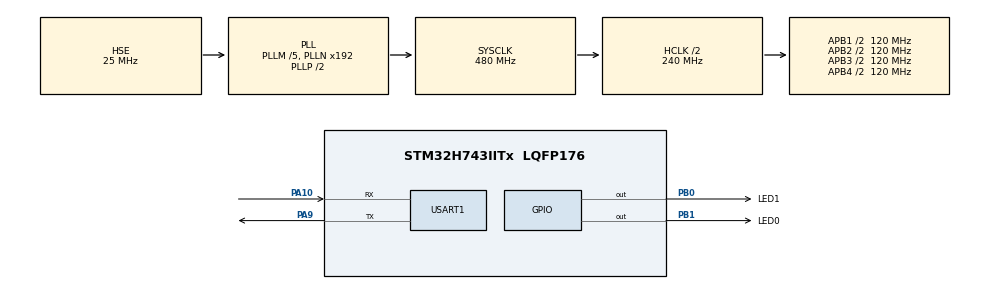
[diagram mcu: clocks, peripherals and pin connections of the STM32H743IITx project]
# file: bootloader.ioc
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Mcu.Family=STM32H7
Mcu.Name=STM32H743IITx
Mcu.Package=LQFP176
NVIC.PriorityGroup=NVIC_PRIORITYGROUP_4
PA10.Mode=Asynchronous
PA10.Signal=USART1_RX
PA13\ (JTMS/SWDIO).Mode=JTAG_5_pins
PA13\ (JTMS/SWDIO).Signal=DEBUG_JTMS-SWDIO
PA14\ (JTCK/SWCLK).Mode=JTAG_5_pins
PA14\ (JTCK/SWCLK).Signal=DEBUG_JTCK-SWCLK
PA15\ (JTDI).Mode=JTAG_5_pins
PA15\ (JTDI).Signal=DEBUG_JTDI
PA9.Mode=Asynchronous
PA9.Signal=USART1_TX
PB0.GPIO_Label=LED1
PB0.GPIO_PuPd=GPIO_PULLUP
PB0.PinState=GPIO_PIN_SET
PB0.Signal=GPIO_Output
PB1.GPIO_Label=LED0
PB1.GPIO_PuPd=GPIO_PULLUP
PB1.PinState=GPIO_PIN_SET
PB1.Signal=GPIO_Output
PB3\ (JTDO/TRACESWO).Mode=JTAG_5_pins
PB3\ (JTDO/TRACESWO).Signal=DEBUG_JTDO-SWO
PB4\ (NJTRST).Mode=JTAG_5_pins
PB4\ (NJTRST).Signal=DEBUG_JTRST
PH0-OSC_IN\ (PH0).Mode=HSE-External-Oscillator
PH0-OSC_IN\ (PH0).Signal=RCC_OSC_IN
PH1-OSC_OUT\ (PH1).Mode=HSE-External-Oscillator
PH1-OSC_OUT\ (PH1).Signal=RCC_OSC_OUT
ProjectManager.HeapSize=0x200
ProjectManager.StackSize=0x400
ProjectManager.TargetToolchain=MDK-ARM V5.32
RCC.ADCFreq_Value=50390625
RCC.APB1Freq_Value=120000000
RCC.APB2Freq_Value=120000000
RCC.APB3Freq_Value=120000000
RCC.APB4Freq_Value=120000000
RCC.CortexFreq_Value=480000000
RCC.D1PPRE=RCC_APB3_DIV2
RCC.D2PPRE1=RCC_APB1_DIV2
RCC.D2PPRE2=RCC_APB2_DIV2
RCC.D3PPRE=RCC_APB4_DIV2
RCC.DIVM1=5
RCC.DIVN1=192
RCC.HCLKFreq_Value=240000000
RCC.HPRE=RCC_HCLK_DIV2
RCC.PLLSourceVirtual=RCC_PLLSOURCE_HSE
RCC.ProductRev=revV
RCC.SYSCLKFreq_VALUE=480000000
RCC.SYSCLKSource=RCC_SYSCLKSOURCE_PLLCLK
RCC.USBFreq_Value=480000000
USART1.VirtualMode-Asynchronous=VM_ASYNC
board=custom

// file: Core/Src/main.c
/* USER CODE BEGIN Header */
/**
  ******************************************************************************
  * @file           : main.c
  * @brief          : Main program body
  ******************************************************************************
  * @attention
  *
  * Copyright (c) 2023 STMicroelectronics.
  * All rights reserved.
  *
  * This software is licensed under terms that can be found in the LICENSE file
  * in the root directory of this software component.
  * If no LICENSE file comes with this software, it is provided AS-IS.
  *
  ******************************************************************************
  */
/* USER CODE END Header */
#include "main.h"
#include "usart.h"
#include "gpio.h"

/* USER CODE BEGIN Includes */
#include "string.h"
/* USER CODE END Includes */

/* USER CODE BEGIN PTD */
typedef void (*pFunction)(void);
/* USER CODE END PTD */

/* USER CODE BEGIN PD */
#define BOOTLOADER_FLAG_VALUE 			0xDEADBEEF
#define BOOTLOADER_FLAG_OFFSET 			0x100
#define APP_ADDRESS									(0x08020000)		// 128KB for bootloader(erase by Sector, 1 Sector = 128KB for this MCU)
/* USER CODE END PD */

/* USER CODE BEGIN PV */
uint32_t endstack = 0x20000400;
uint32_t *bootloader_flag;
uint32_t JumpAddress;
pFunction JumpToApplication;
/* USER CODE END PV */

void SystemClock_Config(void);

int main(void)
{
  /* USER CODE BEGIN 1 */
	bootloader_flag = (uint32_t*)(endstack - BOOTLOADER_FLAG_OFFSET);
	if(*bootloader_flag != BOOTLOADER_FLAG_VALUE) {
		JumpAddress = *(__IO uint32_t*)(APP_ADDRESS + 4);
		JumpToApplication = (pFunction)JumpAddress;
		__set_MSP(*(__IO uint32_t*)APP_ADDRESS);
		JumpToApplication();
	}
  /* USER CODE END 1 */

  /* MCU Configuration--------------------------------------------------------*/

  /* Reset of all peripherals, Initializes the Flash interface and the Systick. */
  HAL_Init();

  /* Configure the system clock */
  SystemClock_Config();

  /* Initialize all configured peripherals */
  MX_GPIO_Init();
  MX_USART1_UART_Init();
  /* USER CODE BEGIN 2 */
	HAL_UART_Transmit(&huart1, (uint8_t*)"update bootloader demo start...\r\n", strlen("update bootloader demo start...\r\n"), 1000);
  /* USER CODE END 2 */

  /* Infinite loop */
  /* USER CODE BEGIN WHILE */
	uint32_t now = 0, then = 0;
	uint8_t cnt = 0;
  while (1)
  {
		now = HAL_GetTick();
		if(now - then > 100)
		{
			HAL_UART_Transmit(&huart1, (uint8_t*)"LED0 toggle...\r\n", strlen("LED0 toggle...\r\n"), 1000);
			HAL_GPIO_TogglePin(LED0_GPIO_Port, LED0_Pin);
			then = now;
			cnt++;
		}

		if(cnt > 100)
		{
			HAL_UART_Transmit(&huart1, (uint8_t*)"Jump to application...\r\n", strlen("Jump to application...\r\n"), 1000);
			__disable_irq();
			*bootloader_flag = 0;
			HAL_NVIC_SystemReset();
		}
    /* USER CODE END WHILE */

  }
}

void SystemClock_Config(void)
{
  RCC_OscInitTypeDef RCC_OscInitStruct = {0};
  RCC_ClkInitTypeDef RCC_ClkInitStruct = {0};

  /** Supply configuration update enable
  */
  HAL_PWREx_ConfigSupply(PWR_LDO_SUPPLY);

  /** Configure the main internal regulator output voltage
  */
  __HAL_PWR_VOLTAGESCALING_CONFIG(PWR_REGULATOR_VOLTAGE_SCALE1);

  while(!__HAL_PWR_GET_FLAG(PWR_FLAG_VOSRDY)) {}

  __HAL_RCC_SYSCFG_CLK_ENABLE();
  __HAL_PWR_VOLTAGESCALING_CONFIG(PWR_REGULATOR_VOLTAGE_SCALE0);

  while(!__HAL_PWR_GET_FLAG(PWR_FLAG_VOSRDY)) {}

  /** Initializes the RCC Oscillators according to the specified parameters
  * in the RCC_OscInitTypeDef structure.
  */
  RCC_OscInitStruct.OscillatorType = RCC_OSCILLATORTYPE_HSE;
  RCC_OscInitStruct.HSEState = RCC_HSE_ON;
  RCC_OscInitStruct.PLL.PLLState = RCC_PLL_ON;
  RCC_OscInitStruct.PLL.PLLSource = RCC_PLLSOURCE_HSE;
  RCC_OscInitStruct.PLL.PLLM = 5;
  RCC_OscInitStruct.PLL.PLLN = 192;
  RCC_OscInitStruct.PLL.PLLP = 2;
  RCC_OscInitStruct.PLL.PLLQ = 2;
  RCC_OscInitStruct.PLL.PLLR = 2;
  RCC_OscInitStruct.PLL.PLLRGE = RCC_PLL1VCIRANGE_2;
  RCC_OscInitStruct.PLL.PLLVCOSEL = RCC_PLL1VCOWIDE;
  RCC_OscInitStruct.PLL.PLLFRACN = 0;
  if (HAL_RCC_OscConfig(&RCC_OscInitStruct) != HAL_OK)
  {
    Error_Handler();
  }

  /** Initializes the CPU, AHB and APB buses clocks
  */
  RCC_ClkInitStruct.ClockType = RCC_CLOCKTYPE_HCLK|RCC_CLOCKTYPE_SYSCLK
                              |RCC_CLOCKTYPE_PCLK1|RCC_CLOCKTYPE_PCLK2
                              |RCC_CLOCKTYPE_D3PCLK1|RCC_CLOCKTYPE_D1PCLK1;
  RCC_ClkInitStruct.SYSCLKSource = RCC_SYSCLKSOURCE_PLLCLK;
  RCC_ClkInitStruct.SYSCLKDivider = RCC_SYSCLK_DIV1;
  RCC_ClkInitStruct.AHBCLKDivider = RCC_HCLK_DIV2;
  RCC_ClkInitStruct.APB3CLKDivider = RCC_APB3_DIV2;
  RCC_ClkInitStruct.APB1CLKDivider = RCC_APB1_DIV2;
  RCC_ClkInitStruct.APB2CLKDivider = RCC_APB2_DIV2;
  RCC_ClkInitStruct.APB4CLKDivider = RCC_APB4_DIV2;

  if (HAL_RCC_ClockConfig(&RCC_ClkInitStruct, FLASH_LATENCY_4) != HAL_OK)
  {
    Error_Handler();
  }
}

void Error_Handler(void)
{
  __disable_irq();
  while (1)
  {
  }
}
